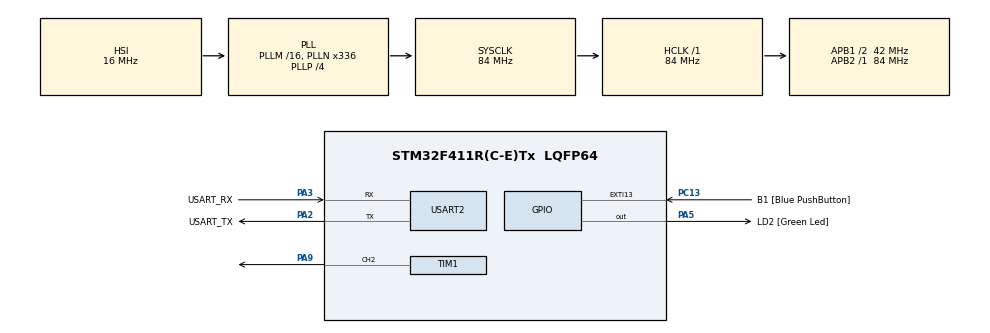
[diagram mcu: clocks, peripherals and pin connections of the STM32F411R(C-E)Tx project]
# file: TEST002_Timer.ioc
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Mcu.Family=STM32F4
Mcu.Name=STM32F411R(C-E)Tx
Mcu.Package=LQFP64
NVIC.EXTI15_10_IRQn=true\:0\:3\:false\:false\:true\:true\:true\:true
NVIC.PriorityGroup=NVIC_PRIORITYGROUP_0
NVIC.TIM2_IRQn=true\:0\:0\:false\:false\:true\:true\:true\:true
NVIC.TIM3_IRQn=true\:0\:2\:false\:false\:true\:true\:true\:true
NVIC.TIM4_IRQn=true\:0\:0\:false\:false\:true\:true\:true\:true
PA13.GPIO_Label=TMS
PA13.Mode=Serial_Wire
PA13.Signal=SYS_JTMS-SWDIO
PA14.GPIO_Label=TCK
PA14.Mode=Serial_Wire
PA14.Signal=SYS_JTCK-SWCLK
PA2.GPIO_Label=USART_TX
PA2.Mode=Asynchronous
PA2.Signal=USART2_TX
PA3.GPIO_Label=USART_RX
PA3.Mode=Asynchronous
PA3.Signal=USART2_RX
PA5.GPIO_Label=LD2 [Green Led]
PA5.Signal=GPIO_Output
PA9.Signal=S_TIM1_CH2
PB3.GPIO_Label=SWO
PB3.Signal=SYS_JTDO-SWO
PC13-ANTI_TAMP.GPIO_Label=B1 [Blue PushButton]
PC13-ANTI_TAMP.GPIO_ModeDefaultEXTI=GPIO_MODE_IT_FALLING
PC13-ANTI_TAMP.Signal=GPXTI13
PC14-OSC32_IN.Mode=LSE-External-Oscillator
PC14-OSC32_IN.Signal=RCC_OSC32_IN
PC15-OSC32_OUT.Mode=LSE-External-Oscillator
PC15-OSC32_OUT.Signal=RCC_OSC32_OUT
PH0\ -\ OSC_IN.Mode=HSE-External-Clock-Source
PH0\ -\ OSC_IN.Signal=RCC_OSC_IN
PH1\ -\ OSC_OUT.Mode=HSE-External-Clock-Source
PH1\ -\ OSC_OUT.Signal=RCC_OSC_OUT
ProjectManager.HeapSize=0x200
ProjectManager.StackSize=0x400
ProjectManager.TargetToolchain=STM32CubeIDE
RCC.48MHZClocksFreq_Value=84000000
RCC.AHBFreq_Value=84000000
RCC.APB1CLKDivider=RCC_HCLK_DIV2
RCC.APB1Freq_Value=42000000
RCC.APB1TimFreq_Value=84000000
RCC.APB2Freq_Value=84000000
RCC.APB2TimFreq_Value=84000000
RCC.CortexFreq_Value=84000000
RCC.FLatency-AdvancedSettings=FLASH_LATENCY_2
RCC.HCLKFreq_Value=84000000
RCC.HSE_VALUE=8000000
RCC.HSI_VALUE=16000000
RCC.PLLN=336
RCC.PLLP=RCC_PLLP_DIV4
RCC.SYSCLKFreq_VALUE=84000000
RCC.SYSCLKSource=RCC_SYSCLKSOURCE_PLLCLK
RCC.VCOOutputFreq_Value=336000000
SH.S_TIM1_CH2.0=TIM1_CH2,PWM Generation2 CH2
TIM1.Channel-PWM\ Generation2\ CH2=TIM_CHANNEL_2
TIM1.Period=100-1
TIM1.Prescaler=840-1
TIM2.Period=2000-1
TIM2.Prescaler=8400-1
TIM3.Period=30000-1
TIM3.Prescaler=8400-1
TIM4.Period=50000-1
TIM4.Prescaler=8400-1
USART2.VirtualMode=VM_ASYNC
VP_TIM1_VS_ClockSourceINT.Mode=Internal
VP_TIM2_VS_ClockSourceINT.Mode=Internal
VP_TIM3_VS_ClockSourceINT.Mode=Internal
VP_TIM4_VS_ClockSourceINT.Mode=Internal
board=NUCLEO-F411RE

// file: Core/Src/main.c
/* USER CODE BEGIN Header */
/**
  ******************************************************************************
  * @file           : main.c
  * @brief          : Main program body
  ******************************************************************************
  * @attention
  *
  * Copyright (c) 2024 STMicroelectronics.
  * All rights reserved.
  *
  * This software is licensed under terms that can be found in the LICENSE file
  * in the root directory of this software component.
  * If no LICENSE file comes with this software, it is provided AS-IS.
  *
  ******************************************************************************
  */
/* USER CODE END Header */
#include "main.h"

TIM_HandleTypeDef htim1;
TIM_HandleTypeDef htim2;
TIM_HandleTypeDef htim3;
TIM_HandleTypeDef htim4;

UART_HandleTypeDef huart2;

void SystemClock_Config(void);
static void MX_GPIO_Init(void);
static void MX_USART2_UART_Init(void);
static void MX_TIM3_Init(void);
static void MX_TIM2_Init(void);
static void MX_TIM4_Init(void);
static void MX_TIM1_Init(void);

/* USER CODE BEGIN 0 */
int count3 = 0;
int count2 = 0;
int op = 0;
int x = 30;
int y = 10;

void CCR_OP()
{
	if(++op > 100) op = 0;
	printf("\033[%d;%dHCurrent CCR : %d   \r\n", y, x,  op);
}

void HAL_TIM_PeriodElapsedCallback(TIM_HandleTypeDef *htim)
{
	if(htim == &htim2)
	{
		CCR_OP();
		//printf("Timer2 elapsed...%d...Press B1 to continue\r\n", count3++);

	}
	else if (htim == & htim3)
	{
		printf("	Timer3 elapsed...%d\r\n", count2++);
		while(!op);
	}
	else if (htim == &htim4)
	{
		printf("   >>>>>Timer4 elapsed......\r\n");
		op = 1;
	}

}

void HAL_GPIO_EXTI_Callback(uint16_t GPIO_Pin)
{
	//op++;
	CCR_OP();
}
/* USER CODE END 0 */

int main(void)
{

  /* MCU Configuration--------------------------------------------------------*/

  /* Reset of all peripherals, Initializes the Flash interface and the Systick. */
  HAL_Init();

  /* Configure the system clock */
  SystemClock_Config();

  /* Initialize all configured peripherals */
  MX_GPIO_Init();
  MX_USART2_UART_Init();
  MX_TIM3_Init();
  MX_TIM2_Init();
  MX_TIM4_Init();
  MX_TIM1_Init();
  /* USER CODE BEGIN 2 */
  ProgramStart("Timer1");	//B1 to start

  op = 0;
  //HAL_TIM_Base_Start_IT(&htim3);  //selected timer interrupt start
  HAL_TIM_Base_Start_IT(&htim2);
  HAL_TIM_PWM_Start(&htim1, TIM_CHANNEL_2); //handle of tim1, channel 2 -->
  /* USER CODE END 2 */

  /* Infinite loop */
  /* USER CODE BEGIN WHILE */
  int mode = 1;
  while (1)
  {
    /* USER CODE END WHILE */

    /* USER CODE BEGIN 3 */
	  htim1.Instance->CCR2 = op;
	  if(mode == 1)
	  {
	  	HAL_GPIO_WritePin(LD2_GPIO_Port, LD2_Pin,1); //PA5
	  	HAL_Delay(500); //500ms
	  	HAL_GPIO_WritePin(LD2_GPIO_Port, LD2_Pin,0); //PA5
	  	HAL_Delay(500); //500ms
	  }
  }
  /* USER CODE END 3 */
}

void SystemClock_Config(void)
{
  RCC_OscInitTypeDef RCC_OscInitStruct = {0};
  RCC_ClkInitTypeDef RCC_ClkInitStruct = {0};

  /** Configure the main internal regulator output voltage
  */
  __HAL_RCC_PWR_CLK_ENABLE();
  __HAL_PWR_VOLTAGESCALING_CONFIG(PWR_REGULATOR_VOLTAGE_SCALE1);

  /** Initializes the RCC Oscillators according to the specified parameters
  * in the RCC_OscInitTypeDef structure.
  */
  RCC_OscInitStruct.OscillatorType = RCC_OSCILLATORTYPE_HSI;
  RCC_OscInitStruct.HSIState = RCC_HSI_ON;
  RCC_OscInitStruct.HSICalibrationValue = RCC_HSICALIBRATION_DEFAULT;
  RCC_OscInitStruct.PLL.PLLState = RCC_PLL_ON;
  RCC_OscInitStruct.PLL.PLLSource = RCC_PLLSOURCE_HSI;
  RCC_OscInitStruct.PLL.PLLM = 16;
  RCC_OscInitStruct.PLL.PLLN = 336;
  RCC_OscInitStruct.PLL.PLLP = RCC_PLLP_DIV4;
  RCC_OscInitStruct.PLL.PLLQ = 4;
  if (HAL_RCC_OscConfig(&RCC_OscInitStruct) != HAL_OK)
  {
    Error_Handler();
  }

  /** Initializes the CPU, AHB and APB buses clocks
  */
  RCC_ClkInitStruct.ClockType = RCC_CLOCKTYPE_HCLK|RCC_CLOCKTYPE_SYSCLK
                              |RCC_CLOCKTYPE_PCLK1|RCC_CLOCKTYPE_PCLK2;
  RCC_ClkInitStruct.SYSCLKSource = RCC_SYSCLKSOURCE_PLLCLK;
  RCC_ClkInitStruct.AHBCLKDivider = RCC_SYSCLK_DIV1;
  RCC_ClkInitStruct.APB1CLKDivider = RCC_HCLK_DIV2;
  RCC_ClkInitStruct.APB2CLKDivider = RCC_HCLK_DIV1;

  if (HAL_RCC_ClockConfig(&RCC_ClkInitStruct, FLASH_LATENCY_2) != HAL_OK)
  {
    Error_Handler();
  }
}

static void MX_TIM1_Init(void)
{

  TIM_ClockConfigTypeDef sClockSourceConfig = {0};
  TIM_MasterConfigTypeDef sMasterConfig = {0};
  TIM_OC_InitTypeDef sConfigOC = {0};
  TIM_BreakDeadTimeConfigTypeDef sBreakDeadTimeConfig = {0};

  htim1.Instance = TIM1;
  htim1.Init.Prescaler = 840-1;
  htim1.Init.CounterMode = TIM_COUNTERMODE_UP;
  htim1.Init.Period = 100-1;
  htim1.Init.ClockDivision = TIM_CLOCKDIVISION_DIV1;
  htim1.Init.RepetitionCounter = 0;
  htim1.Init.AutoReloadPreload = TIM_AUTORELOAD_PRELOAD_DISABLE;
  if (HAL_TIM_Base_Init(&htim1) != HAL_OK)
  {
    Error_Handler();
  }
  sClockSourceConfig.ClockSource = TIM_CLOCKSOURCE_INTERNAL;
  if (HAL_TIM_ConfigClockSource(&htim1, &sClockSourceConfig) != HAL_OK)
  {
    Error_Handler();
  }
  if (HAL_TIM_PWM_Init(&htim1) != HAL_OK)
  {
    Error_Handler();
  }
  sMasterConfig.MasterOutputTrigger = TIM_TRGO_RESET;
  sMasterConfig.MasterSlaveMode = TIM_MASTERSLAVEMODE_DISABLE;
  if (HAL_TIMEx_MasterConfigSynchronization(&htim1, &sMasterConfig) != HAL_OK)
  {
    Error_Handler();
  }
  sConfigOC.OCMode = TIM_OCMODE_PWM1;
  sConfigOC.Pulse = 0;
  sConfigOC.OCPolarity = TIM_OCPOLARITY_HIGH;
  sConfigOC.OCNPolarity = TIM_OCNPOLARITY_HIGH;
  sConfigOC.OCFastMode = TIM_OCFAST_DISABLE;
  sConfigOC.OCIdleState = TIM_OCIDLESTATE_RESET;
  sConfigOC.OCNIdleState = TIM_OCNIDLESTATE_RESET;
  if (HAL_TIM_PWM_ConfigChannel(&htim1, &sConfigOC, TIM_CHANNEL_2) != HAL_OK)
  {
    Error_Handler();
  }
  sBreakDeadTimeConfig.OffStateRunMode = TIM_OSSR_DISABLE;
  sBreakDeadTimeConfig.OffStateIDLEMode = TIM_OSSI_DISABLE;
  sBreakDeadTimeConfig.LockLevel = TIM_LOCKLEVEL_OFF;
  sBreakDeadTimeConfig.DeadTime = 0;
  sBreakDeadTimeConfig.BreakState = TIM_BREAK_DISABLE;
  sBreakDeadTimeConfig.BreakPolarity = TIM_BREAKPOLARITY_HIGH;
  sBreakDeadTimeConfig.AutomaticOutput = TIM_AUTOMATICOUTPUT_DISABLE;
  if (HAL_TIMEx_ConfigBreakDeadTime(&htim1, &sBreakDeadTimeConfig) != HAL_OK)
  {
    Error_Handler();
  }
  HAL_TIM_MspPostInit(&htim1);

}

static void MX_TIM2_Init(void)
{

  TIM_ClockConfigTypeDef sClockSourceConfig = {0};
  TIM_MasterConfigTypeDef sMasterConfig = {0};

  htim2.Instance = TIM2;
  htim2.Init.Prescaler = 8400-1;
  htim2.Init.CounterMode = TIM_COUNTERMODE_UP;
  htim2.Init.Period = 2000-1;
  htim2.Init.ClockDivision = TIM_CLOCKDIVISION_DIV1;
  htim2.Init.AutoReloadPreload = TIM_AUTORELOAD_PRELOAD_DISABLE;
  if (HAL_TIM_Base_Init(&htim2) != HAL_OK)
  {
    Error_Handler();
  }
  sClockSourceConfig.ClockSource = TIM_CLOCKSOURCE_INTERNAL;
  if (HAL_TIM_ConfigClockSource(&htim2, &sClockSourceConfig) != HAL_OK)
  {
    Error_Handler();
  }
  sMasterConfig.MasterOutputTrigger = TIM_TRGO_RESET;
  sMasterConfig.MasterSlaveMode = TIM_MASTERSLAVEMODE_DISABLE;
  if (HAL_TIMEx_MasterConfigSynchronization(&htim2, &sMasterConfig) != HAL_OK)
  {
    Error_Handler();
  }

}

static void MX_TIM3_Init(void)
{

  TIM_ClockConfigTypeDef sClockSourceConfig = {0};
  TIM_MasterConfigTypeDef sMasterConfig = {0};

  htim3.Instance = TIM3;
  htim3.Init.Prescaler = 8400-1;
  htim3.Init.CounterMode = TIM_COUNTERMODE_UP;
  htim3.Init.Period = 30000-1;
  htim3.Init.ClockDivision = TIM_CLOCKDIVISION_DIV1;
  htim3.Init.AutoReloadPreload = TIM_AUTORELOAD_PRELOAD_DISABLE;
  if (HAL_TIM_Base_Init(&htim3) != HAL_OK)
  {
    Error_Handler();
  }
  sClockSourceConfig.ClockSource = TIM_CLOCKSOURCE_INTERNAL;
  if (HAL_TIM_ConfigClockSource(&htim3, &sClockSourceConfig) != HAL_OK)
  {
    Error_Handler();
  }
  sMasterConfig.MasterOutputTrigger = TIM_TRGO_RESET;
  sMasterConfig.MasterSlaveMode = TIM_MASTERSLAVEMODE_DISABLE;
  if (HAL_TIMEx_MasterConfigSynchronization(&htim3, &sMasterConfig) != HAL_OK)
  {
    Error_Handler();
  }

}

static void MX_TIM4_Init(void)
{

  TIM_ClockConfigTypeDef sClockSourceConfig = {0};
  TIM_MasterConfigTypeDef sMasterConfig = {0};

  htim4.Instance = TIM4;
  htim4.Init.Prescaler = 8400-1;
  htim4.Init.CounterMode = TIM_COUNTERMODE_UP;
  htim4.Init.Period = 50000-1;
  htim4.Init.ClockDivision = TIM_CLOCKDIVISION_DIV1;
  htim4.Init.AutoReloadPreload = TIM_AUTORELOAD_PRELOAD_DISABLE;
  if (HAL_TIM_Base_Init(&htim4) != HAL_OK)
  {
    Error_Handler();
  }
  sClockSourceConfig.ClockSource = TIM_CLOCKSOURCE_INTERNAL;
  if (HAL_TIM_ConfigClockSource(&htim4, &sClockSourceConfig) != HAL_OK)
  {
    Error_Handler();
  }
  sMasterConfig.MasterOutputTrigger = TIM_TRGO_RESET;
  sMasterConfig.MasterSlaveMode = TIM_MASTERSLAVEMODE_DISABLE;
  if (HAL_TIMEx_MasterConfigSynchronization(&htim4, &sMasterConfig) != HAL_OK)
  {
    Error_Handler();
  }

}

static void MX_USART2_UART_Init(void)
{

  huart2.Instance = USART2;
  huart2.Init.BaudRate = 115200;
  huart2.Init.WordLength = UART_WORDLENGTH_8B;
  huart2.Init.StopBits = UART_STOPBITS_1;
  huart2.Init.Parity = UART_PARITY_NONE;
  huart2.Init.Mode = UART_MODE_TX_RX;
  huart2.Init.HwFlowCtl = UART_HWCONTROL_NONE;
  huart2.Init.OverSampling = UART_OVERSAMPLING_16;
  if (HAL_UART_Init(&huart2) != HAL_OK)
  {
    Error_Handler();
  }

}

static void MX_GPIO_Init(void)
{
  GPIO_InitTypeDef GPIO_InitStruct = {0};

  /* GPIO Ports Clock Enable */
  __HAL_RCC_GPIOC_CLK_ENABLE();
  __HAL_RCC_GPIOH_CLK_ENABLE();
  __HAL_RCC_GPIOA_CLK_ENABLE();
  __HAL_RCC_GPIOB_CLK_ENABLE();

  /*Configure GPIO pin Output Level */
  HAL_GPIO_WritePin(LD2_GPIO_Port, LD2_Pin, GPIO_PIN_RESET);

  /*Configure GPIO pin : B1_Pin */
  GPIO_InitStruct.Pin = B1_Pin;
  GPIO_InitStruct.Mode = GPIO_MODE_IT_FALLING;
  GPIO_InitStruct.Pull = GPIO_NOPULL;
  HAL_GPIO_Init(B1_GPIO_Port, &GPIO_InitStruct);

  /*Configure GPIO pin : LD2_Pin */
  GPIO_InitStruct.Pin = LD2_Pin;
  GPIO_InitStruct.Mode = GPIO_MODE_OUTPUT_PP;
  GPIO_InitStruct.Pull = GPIO_NOPULL;
  GPIO_InitStruct.Speed = GPIO_SPEED_FREQ_LOW;
  HAL_GPIO_Init(LD2_GPIO_Port, &GPIO_InitStruct);

  /* EXTI interrupt init*/
  HAL_NVIC_SetPriority(EXTI15_10_IRQn, 0, 3);
  HAL_NVIC_EnableIRQ(EXTI15_10_IRQn);

}

void Error_Handler(void)
{
  __disable_irq();
  while (1)
  {
  }
}
